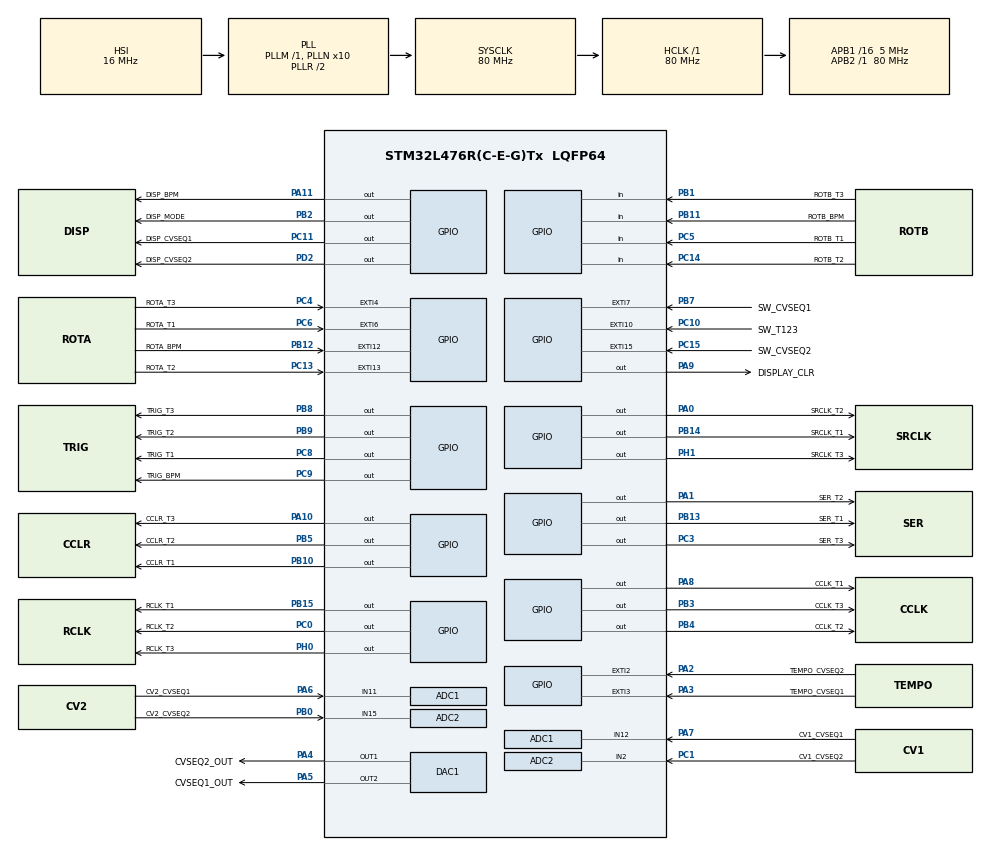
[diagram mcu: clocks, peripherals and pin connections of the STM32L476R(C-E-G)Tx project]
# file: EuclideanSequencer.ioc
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ADC1.Channel-3\#ChannelRegularConversion=ADC_CHANNEL_11
ADC1.NbrOfConversionFlag=1
ADC1.OffsetNumber-3\#ChannelRegularConversion=ADC_OFFSET_NONE
ADC1.Rank-3\#ChannelRegularConversion=1
ADC1.SamplingTime-3\#ChannelRegularConversion=ADC_SAMPLETIME_2CYCLES_5
ADC1.master=1
ADC2.Channel-0\#ChannelRegularConversion=ADC_CHANNEL_2
ADC2.NbrOfConversionFlag=1
ADC2.OffsetNumber-0\#ChannelRegularConversion=ADC_OFFSET_NONE
ADC2.Rank-0\#ChannelRegularConversion=1
ADC2.SamplingTime-0\#ChannelRegularConversion=ADC_SAMPLETIME_2CYCLES_5
DAC1.DAC_Channel-DAC_OUT2=DAC_CHANNEL_2
Dma.ADC1.0.Direction=DMA_PERIPH_TO_MEMORY
Dma.ADC1.0.Instance=DMA1_Channel1
Dma.ADC1.0.MemDataAlignment=DMA_MDATAALIGN_HALFWORD
Dma.ADC1.0.MemInc=DMA_MINC_ENABLE
Dma.ADC1.0.Mode=DMA_CIRCULAR
Dma.ADC1.0.PeriphDataAlignment=DMA_PDATAALIGN_HALFWORD
Dma.ADC1.0.PeriphInc=DMA_PINC_DISABLE
Dma.ADC1.0.Priority=DMA_PRIORITY_VERY_HIGH
Dma.ADC2.1.Direction=DMA_PERIPH_TO_MEMORY
Dma.ADC2.1.Instance=DMA1_Channel2
Dma.ADC2.1.MemDataAlignment=DMA_MDATAALIGN_HALFWORD
Dma.ADC2.1.MemInc=DMA_MINC_ENABLE
Dma.ADC2.1.Mode=DMA_CIRCULAR
Dma.ADC2.1.PeriphDataAlignment=DMA_PDATAALIGN_HALFWORD
Dma.ADC2.1.PeriphInc=DMA_PINC_DISABLE
Dma.ADC2.1.Priority=DMA_PRIORITY_VERY_HIGH
Dma.DAC_CH1.2.Direction=DMA_MEMORY_TO_PERIPH
Dma.DAC_CH1.2.Instance=DMA1_Channel3
Dma.DAC_CH1.2.MemDataAlignment=DMA_MDATAALIGN_HALFWORD
Dma.DAC_CH1.2.MemInc=DMA_MINC_ENABLE
Dma.DAC_CH1.2.Mode=DMA_NORMAL
Dma.DAC_CH1.2.PeriphDataAlignment=DMA_PDATAALIGN_HALFWORD
Dma.DAC_CH1.2.PeriphInc=DMA_PINC_DISABLE
Dma.DAC_CH1.2.Priority=DMA_PRIORITY_VERY_HIGH
Dma.DAC_CH2.3.Direction=DMA_MEMORY_TO_PERIPH
Dma.DAC_CH2.3.Instance=DMA1_Channel4
Dma.DAC_CH2.3.MemDataAlignment=DMA_MDATAALIGN_HALFWORD
Dma.DAC_CH2.3.MemInc=DMA_MINC_ENABLE
Dma.DAC_CH2.3.Mode=DMA_NORMAL
Dma.DAC_CH2.3.PeriphDataAlignment=DMA_PDATAALIGN_HALFWORD
Dma.DAC_CH2.3.PeriphInc=DMA_PINC_DISABLE
Dma.DAC_CH2.3.Priority=DMA_PRIORITY_VERY_HIGH
Dma.Request0=ADC1
Dma.Request1=ADC2
Dma.Request2=DAC_CH1
Dma.Request3=DAC_CH2
Mcu.Family=STM32L4
Mcu.Name=STM32L476R(C-E-G)Tx
Mcu.Package=LQFP64
NVIC.DMA1_Channel1_IRQn=true\:0\:0\:false\:false\:true\:false\:true\:true
NVIC.DMA1_Channel2_IRQn=true\:0\:0\:false\:false\:true\:false\:true\:true
NVIC.DMA1_Channel3_IRQn=true\:0\:0\:false\:false\:true\:false\:true\:true
NVIC.DMA1_Channel4_IRQn=true\:0\:0\:false\:false\:true\:false\:true\:true
NVIC.EXTI15_10_IRQn=true\:0\:0\:false\:false\:true\:true\:true\:true
NVIC.EXTI2_IRQn=true\:0\:0\:false\:false\:true\:true\:true\:true
NVIC.EXTI3_IRQn=true\:0\:0\:false\:false\:true\:true\:true\:true
NVIC.EXTI4_IRQn=true\:0\:0\:false\:false\:true\:true\:true\:true
NVIC.EXTI9_5_IRQn=true\:0\:0\:false\:false\:true\:true\:true\:true
NVIC.PriorityGroup=NVIC_PRIORITYGROUP_4
NVIC.TIM6_DAC_IRQn=true\:0\:0\:false\:false\:true\:true\:true\:true
PA0.GPIO_Label=SRCLK_T2
PA0.GPIO_Speed=GPIO_SPEED_FREQ_VERY_HIGH
PA0.Signal=GPIO_Output
PA1.GPIO_Label=SER_T2
PA1.GPIO_Speed=GPIO_SPEED_FREQ_VERY_HIGH
PA1.Signal=GPIO_Output
PA10.GPIO_Label=CCLR_T3
PA10.GPIO_Speed=GPIO_SPEED_FREQ_VERY_HIGH
PA10.Signal=GPIO_Output
PA11.GPIO_Label=DISP_BPM
PA11.Signal=GPIO_Output
PA2.GPIO_Label=TEMPO_CVSEQ2
PA2.Signal=GPXTI2
PA3.GPIO_Label=TEMPO_CVSEQ1
PA3.Signal=GPXTI3
PA4.GPIO_Label=CVSEQ2_OUT
PA4.Signal=COMP_DAC11_group
PA5.GPIO_Label=CVSEQ1_OUT
PA5.Signal=COMP_DAC12_group
PA6.GPIO_Label=CV2_CVSEQ1
PA6.Signal=ADCx_IN11
PA7.GPIO_Label=CV1_CVSEQ1
PA7.Signal=ADCx_IN12
PA8.GPIO_Label=CCLK_T1
PA8.GPIO_Speed=GPIO_SPEED_FREQ_VERY_HIGH
PA8.Signal=GPIO_Output
PA9.GPIO_Label=DISPLAY_CLR
PA9.GPIO_Speed=GPIO_SPEED_FREQ_VERY_HIGH
PA9.PinState=GPIO_PIN_RESET
PA9.Signal=GPIO_Output
PB0.GPIO_Label=CV2_CVSEQ2
PB0.Signal=ADCx_IN15
PB1.GPIO_Label=ROTB_T3
PB1.Signal=GPIO_Input
PB10.GPIO_Label=CCLR_T1
PB10.GPIO_Speed=GPIO_SPEED_FREQ_VERY_HIGH
PB10.Signal=GPIO_Output
PB11.GPIO_Label=ROTB_BPM
PB11.Signal=GPIO_Input
PB12.GPIO_Label=ROTA_BPM
PB12.Signal=GPXTI12
PB13.GPIO_Label=SER_T1
PB13.GPIO_Speed=GPIO_SPEED_FREQ_VERY_HIGH
PB13.Signal=GPIO_Output
PB14.GPIO_Label=SRCLK_T1
PB14.Signal=GPIO_Output
PB15.GPIO_Label=RCLK_T1
PB15.GPIO_Speed=GPIO_SPEED_FREQ_VERY_HIGH
PB15.Signal=GPIO_Output
PB2.GPIO_Label=DISP_MODE
PB2.Signal=GPIO_Output
PB3\ (JTDO-TRACESWO).GPIO_Label=CCLK_T3
PB3\ (JTDO-TRACESWO).GPIO_Speed=GPIO_SPEED_FREQ_VERY_HIGH
PB3\ (JTDO-TRACESWO).Signal=GPIO_Output
PB4\ (NJTRST).GPIO_Label=CCLK_T2
PB4\ (NJTRST).GPIO_Speed=GPIO_SPEED_FREQ_VERY_HIGH
PB4\ (NJTRST).PinState=GPIO_PIN_RESET
PB4\ (NJTRST).Signal=GPIO_Output
PB5.GPIO_Label=CCLR_T2
PB5.GPIO_Speed=GPIO_SPEED_FREQ_VERY_HIGH
PB5.Signal=GPIO_Output
PB7.GPIO_Label=SW_CVSEQ1
PB7.Signal=GPXTI7
PB8.GPIO_Label=TRIG_T3
PB8.GPIO_Speed=GPIO_SPEED_FREQ_VERY_HIGH
PB8.Signal=GPIO_Output
PB9.GPIO_Label=TRIG_T2
PB9.GPIO_Speed=GPIO_SPEED_FREQ_VERY_HIGH
PB9.Signal=GPIO_Output
PC0.GPIO_Label=RCLK_T2
PC0.GPIO_Speed=GPIO_SPEED_FREQ_VERY_HIGH
PC0.Signal=GPIO_Output
PC1.GPIO_Label=CV1_CVSEQ2
PC1.Signal=ADCx_IN2
PC10.GPIO_Label=SW_T123
PC10.Signal=GPXTI10
PC11.GPIO_Label=DISP_CVSEQ1
PC11.GPIO_Speed=GPIO_SPEED_FREQ_VERY_HIGH
PC11.Signal=GPIO_Output
PC13.GPIO_Label=ROTA_T2
PC13.Signal=GPXTI13
PC14-OSC32_IN\ (PC14).GPIO_Label=ROTB_T2
PC14-OSC32_IN\ (PC14).Signal=GPIO_Input
PC15-OSC32_OUT\ (PC15).GPIO_Label=SW_CVSEQ2
PC15-OSC32_OUT\ (PC15).Signal=GPXTI15
PC3.GPIO_Label=SER_T3
PC3.Signal=GPIO_Output
PC4.GPIO_Label=ROTA_T3
PC4.Signal=GPXTI4
PC5.GPIO_Label=ROTB_T1
PC5.Signal=GPIO_Input
PC6.GPIO_Label=ROTA_T1
PC6.Signal=GPXTI6
PC8.GPIO_Label=TRIG_T1
PC8.PinState=GPIO_PIN_SET
PC8.Signal=GPIO_Output
PC9.GPIO_Label=TRIG_BPM
PC9.Signal=GPIO_Output
PD2.GPIO_Label=DISP_CVSEQ2
PD2.GPIO_Speed=GPIO_SPEED_FREQ_VERY_HIGH
PD2.Signal=GPIO_Output
PH0-OSC_IN\ (PH0).GPIO_Label=RCLK_T3
PH0-OSC_IN\ (PH0).Signal=GPIO_Output
PH1-OSC_OUT\ (PH1).GPIO_Label=SRCLK_T3
PH1-OSC_OUT\ (PH1).Signal=GPIO_Output
ProjectManager.HeapSize=0x200
ProjectManager.StackSize=0x400
ProjectManager.TargetToolchain=STM32CubeIDE
RCC.ADCFreq_Value=64000000
RCC.AHBFreq_Value=80000000
RCC.APB1CLKDivider=RCC_HCLK_DIV16
RCC.APB1Freq_Value=5000000
RCC.APB1TimFreq_Value=10000000
RCC.APB2Freq_Value=80000000
RCC.APB2TimFreq_Value=80000000
RCC.CortexFreq_Value=80000000
RCC.HCLKFreq_Value=80000000
RCC.HSE_VALUE=8000000
RCC.HSI_VALUE=16000000
RCC.LSE_VALUE=32768
RCC.MSI_VALUE=4000000
RCC.PLLN=10
RCC.PLLSourceVirtual=RCC_PLLSOURCE_HSI
RCC.PREFETCH_ENABLE=1
RCC.SYSCLKFreq_VALUE=80000000
RCC.SYSCLKSource=RCC_SYSCLKSOURCE_PLLCLK
RCC.USBFreq_Value=64000000
RCC.VCOOutputFreq_Value=160000000
SH.ADCx_IN11.0=ADC1_IN11,IN11-Single-Ended
SH.ADCx_IN12.0=ADC1_IN12,IN12-Single-Ended
SH.ADCx_IN15.0=ADC2_IN15,IN15-Single-Ended
SH.ADCx_IN2.0=ADC2_IN2,IN2-Single-Ended
SH.COMP_DAC11_group.0=DAC1_OUT1,DAC_OUT1
SH.COMP_DAC12_group.0=DAC1_OUT2,DAC_OUT2
TIM6.AutoReloadPreload=TIM_AUTORELOAD_PRELOAD_ENABLE
TIM6.Prescaler=114
TIM6.TIM_MasterOutputTrigger=TIM_TRGO_UPDATE
VP_TIM6_VS_ClockSourceINT.Mode=Enable_Timer
board=NUCLEO-L476RG

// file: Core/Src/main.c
/* USER CODE BEGIN Header */
/**
  ******************************************************************************
  * @file           : main.c
  * @brief          : Main program body
  ******************************************************************************
  * @attention
  *
  * Copyright (c) 2024 STMicroelectronics.
  * All rights reserved.
  *
  * This software is licensed under terms that can be found in the LICENSE file
  * in the root directory of this software component.
  * If no LICENSE file comes with this software, it is provided AS-IS.
  *
  ******************************************************************************
  */
/* USER CODE END Header */
#include "main.h"

/* USER CODE BEGIN Includes */
#include "Sequencer.h"
#include "CVSequencer.h"
/* USER CODE END Includes */

ADC_HandleTypeDef hadc1;
ADC_HandleTypeDef hadc2;
DMA_HandleTypeDef hdma_adc1;
DMA_HandleTypeDef hdma_adc2;

DAC_HandleTypeDef hdac1;
DMA_HandleTypeDef hdma_dac_ch1;
DMA_HandleTypeDef hdma_dac_ch2;

TIM_HandleTypeDef htim6;

/* USER CODE BEGIN PV */
Sequencer seq;
Track_GPIOs GPIOs[NBTRACKS];
CVSequencer CVSeq1;
CVSequencer CVSeq2;
/* USER CODE END PV */

void SystemClock_Config(void);
void PeriphCommonClock_Config(void);
static void MX_GPIO_Init(void);
static void MX_DMA_Init(void);
static void MX_TIM6_Init(void);
static void MX_ADC1_Init(void);
static void MX_DAC1_Init(void);
static void MX_ADC2_Init(void);

int main(void)
{

  /* MCU Configuration--------------------------------------------------------*/

  /* Reset of all peripherals, Initializes the Flash interface and the Systick. */
  HAL_Init();

  /* Configure the system clock */
  SystemClock_Config();

/* Configure the peripherals common clocks */
  PeriphCommonClock_Config();

  /* Initialize all configured peripherals */
  MX_GPIO_Init();
  MX_DMA_Init();
  MX_TIM6_Init();
  MX_ADC1_Init();
  MX_DAC1_Init();
  MX_ADC2_Init();
  /* USER CODE BEGIN 2 */
  GPIOs[0].TRIGOUT = (GPIO_PinPort){TRIG_T1_GPIO_Port, TRIG_T1_Pin};
  GPIOs[0].ROTA = (GPIO_PinPort){ROTA_T1_GPIO_Port, ROTA_T1_Pin};
  GPIOs[0].ROTB = (GPIO_PinPort){ROTB_T1_GPIO_Port, ROTB_T1_Pin};
  GPIOs[0].CHASER = (GPIO_PinPort){CCLR_T1_GPIO_Port, CCLR_T1_Pin};
  GPIOs[0].BPMOUT = (GPIO_PinPort){CCLK_T1_GPIO_Port, CCLK_T1_Pin};
  GPIOs[0].LATCH = (GPIO_PinPort){RCLK_T1_GPIO_Port, RCLK_T1_Pin};
  GPIOs[0].CLK = (GPIO_PinPort){SRCLK_T1_GPIO_Port, SRCLK_T1_Pin};
  GPIOs[0].PATTERN = (GPIO_PinPort){SER_T1_GPIO_Port, SER_T1_Pin};

  GPIOs[1].TRIGOUT = (GPIO_PinPort){TRIG_T2_GPIO_Port, TRIG_T2_Pin};
  GPIOs[1].ROTA = (GPIO_PinPort){ROTA_T2_GPIO_Port, ROTA_T2_Pin};
  GPIOs[1].ROTB = (GPIO_PinPort){ROTB_T2_GPIO_Port, ROTB_T2_Pin};
  GPIOs[1].CHASER = (GPIO_PinPort){CCLR_T2_GPIO_Port, CCLR_T2_Pin};
  GPIOs[1].BPMOUT = (GPIO_PinPort){CCLK_T2_GPIO_Port, CCLK_T2_Pin};
  GPIOs[1].LATCH = (GPIO_PinPort){RCLK_T2_GPIO_Port, RCLK_T2_Pin};
  GPIOs[1].CLK = (GPIO_PinPort){SRCLK_T2_GPIO_Port, SRCLK_T2_Pin};
  GPIOs[1].PATTERN = (GPIO_PinPort){SER_T2_GPIO_Port, SER_T2_Pin};

  GPIOs[2].TRIGOUT = (GPIO_PinPort){TRIG_T3_GPIO_Port, TRIG_T3_Pin};
  GPIOs[2].ROTA = (GPIO_PinPort){ROTA_T3_GPIO_Port, ROTA_T3_Pin};
  GPIOs[2].ROTB = (GPIO_PinPort){ROTB_T3_GPIO_Port, ROTB_T3_Pin};
  GPIOs[2].CHASER = (GPIO_PinPort){CCLR_T3_GPIO_Port, CCLR_T3_Pin};
  GPIOs[2].BPMOUT = (GPIO_PinPort){CCLK_T3_GPIO_Port, CCLK_T3_Pin};
  GPIOs[2].LATCH = (GPIO_PinPort){RCLK_T3_GPIO_Port, RCLK_T3_Pin};
  GPIOs[2].CLK = (GPIO_PinPort){SRCLK_T3_GPIO_Port, SRCLK_T3_Pin};
  GPIOs[2].PATTERN = (GPIO_PinPort){SER_T2_GPIO_Port, SER_T2_Pin};

  //Seq_computeTriggers(&seq);
  /* USER CODE END 2 */

  /* Infinite loop */
  /* USER CODE BEGIN WHILE */
  Seq_initSequencer(&seq, (GPIO_PinPort){SW_T123_GPIO_Port, SW_T123_Pin}, (GPIO_PinPort){ROTA_BPM_GPIO_Port, ROTA_BPM_Pin},
		  (GPIO_PinPort){ROTB_BPM_GPIO_Port, ROTB_BPM_Pin}, (GPIO_PinPort){TRIG_BPM_GPIO_Port, TRIG_BPM_Pin},
		  (GPIO_PinPort){DISP_BPM_GPIO_Port, DISP_BPM_Pin}, (GPIO_PinPort){DISP_MODE_GPIO_Port, DISP_MODE_Pin},
		  &htim6, GPIOs);
  CVSeq_initCVSequencer(&CVSeq1, (GPIO_PinPort){TEMPO_CVSEQ1_GPIO_Port, TEMPO_CVSEQ1_Pin}, &hadc1, &hdac1, DAC_CHANNEL_2,
		  (GPIO_PinPort){SW_CVSEQ1_GPIO_Port, SW_CVSEQ1_Pin}, (GPIO_PinPort){DISP_CVSEQ1_GPIO_Port, DISP_CVSEQ1_Pin});
  CVSeq_initCVSequencer(&CVSeq2, (GPIO_PinPort){TEMPO_CVSEQ2_GPIO_Port, TEMPO_CVSEQ2_Pin}, &hadc2, &hdac1, DAC_CHANNEL_1,
		  (GPIO_PinPort){SW_CVSEQ2_GPIO_Port, SW_CVSEQ2_Pin}, (GPIO_PinPort){DISP_CVSEQ2_GPIO_Port, DISP_CVSEQ2_Pin});
  while (1)
  {
	  Seq_computeTriggers(&seq);
	  Seq_resetTriggers(seq);
    /* USER CODE END WHILE */

  }
}

void SystemClock_Config(void)
{
  RCC_OscInitTypeDef RCC_OscInitStruct = {0};
  RCC_ClkInitTypeDef RCC_ClkInitStruct = {0};

  /** Configure the main internal regulator output voltage
  */
  if (HAL_PWREx_ControlVoltageScaling(PWR_REGULATOR_VOLTAGE_SCALE1) != HAL_OK)
  {
    Error_Handler();
  }

  /** Initializes the RCC Oscillators according to the specified parameters
  * in the RCC_OscInitTypeDef structure.
  */
  RCC_OscInitStruct.OscillatorType = RCC_OSCILLATORTYPE_HSI;
  RCC_OscInitStruct.HSIState = RCC_HSI_ON;
  RCC_OscInitStruct.HSICalibrationValue = RCC_HSICALIBRATION_DEFAULT;
  RCC_OscInitStruct.PLL.PLLState = RCC_PLL_ON;
  RCC_OscInitStruct.PLL.PLLSource = RCC_PLLSOURCE_HSI;
  RCC_OscInitStruct.PLL.PLLM = 1;
  RCC_OscInitStruct.PLL.PLLN = 10;
  RCC_OscInitStruct.PLL.PLLP = RCC_PLLP_DIV7;
  RCC_OscInitStruct.PLL.PLLQ = RCC_PLLQ_DIV2;
  RCC_OscInitStruct.PLL.PLLR = RCC_PLLR_DIV2;
  if (HAL_RCC_OscConfig(&RCC_OscInitStruct) != HAL_OK)
  {
    Error_Handler();
  }

  /** Initializes the CPU, AHB and APB buses clocks
  */
  RCC_ClkInitStruct.ClockType = RCC_CLOCKTYPE_HCLK|RCC_CLOCKTYPE_SYSCLK
                              |RCC_CLOCKTYPE_PCLK1|RCC_CLOCKTYPE_PCLK2;
  RCC_ClkInitStruct.SYSCLKSource = RCC_SYSCLKSOURCE_PLLCLK;
  RCC_ClkInitStruct.AHBCLKDivider = RCC_SYSCLK_DIV1;
  RCC_ClkInitStruct.APB1CLKDivider = RCC_HCLK_DIV16;
  RCC_ClkInitStruct.APB2CLKDivider = RCC_HCLK_DIV1;

  if (HAL_RCC_ClockConfig(&RCC_ClkInitStruct, FLASH_LATENCY_4) != HAL_OK)
  {
    Error_Handler();
  }
}

void PeriphCommonClock_Config(void)
{
  RCC_PeriphCLKInitTypeDef PeriphClkInit = {0};

  /** Initializes the peripherals clock
  */
  PeriphClkInit.PeriphClockSelection = RCC_PERIPHCLK_ADC;
  PeriphClkInit.AdcClockSelection = RCC_ADCCLKSOURCE_PLLSAI1;
  PeriphClkInit.PLLSAI1.PLLSAI1Source = RCC_PLLSOURCE_HSI;
  PeriphClkInit.PLLSAI1.PLLSAI1M = 1;
  PeriphClkInit.PLLSAI1.PLLSAI1N = 8;
  PeriphClkInit.PLLSAI1.PLLSAI1P = RCC_PLLP_DIV7;
  PeriphClkInit.PLLSAI1.PLLSAI1Q = RCC_PLLQ_DIV2;
  PeriphClkInit.PLLSAI1.PLLSAI1R = RCC_PLLR_DIV2;
  PeriphClkInit.PLLSAI1.PLLSAI1ClockOut = RCC_PLLSAI1_ADC1CLK;
  if (HAL_RCCEx_PeriphCLKConfig(&PeriphClkInit) != HAL_OK)
  {
    Error_Handler();
  }
}

static void MX_ADC1_Init(void)
{

  ADC_MultiModeTypeDef multimode = {0};
  ADC_ChannelConfTypeDef sConfig = {0};

  /** Common config
  */
  hadc1.Instance = ADC1;
  hadc1.Init.ClockPrescaler = ADC_CLOCK_ASYNC_DIV1;
  hadc1.Init.Resolution = ADC_RESOLUTION_12B;
  hadc1.Init.DataAlign = ADC_DATAALIGN_RIGHT;
  hadc1.Init.ScanConvMode = ADC_SCAN_DISABLE;
  hadc1.Init.EOCSelection = ADC_EOC_SINGLE_CONV;
  hadc1.Init.LowPowerAutoWait = DISABLE;
  hadc1.Init.ContinuousConvMode = DISABLE;
  hadc1.Init.NbrOfConversion = 1;
  hadc1.Init.DiscontinuousConvMode = DISABLE;
  hadc1.Init.ExternalTrigConv = ADC_SOFTWARE_START;
  hadc1.Init.ExternalTrigConvEdge = ADC_EXTERNALTRIGCONVEDGE_NONE;
  hadc1.Init.DMAContinuousRequests = DISABLE;
  hadc1.Init.Overrun = ADC_OVR_DATA_PRESERVED;
  hadc1.Init.OversamplingMode = DISABLE;
  if (HAL_ADC_Init(&hadc1) != HAL_OK)
  {
    Error_Handler();
  }

  /** Configure the ADC multi-mode
  */
  multimode.Mode = ADC_MODE_INDEPENDENT;
  if (HAL_ADCEx_MultiModeConfigChannel(&hadc1, &multimode) != HAL_OK)
  {
    Error_Handler();
  }

  /** Configure Regular Channel
  */
  sConfig.Channel = ADC_CHANNEL_11;
  sConfig.Rank = ADC_REGULAR_RANK_1;
  sConfig.SamplingTime = ADC_SAMPLETIME_2CYCLES_5;
  sConfig.SingleDiff = ADC_SINGLE_ENDED;
  sConfig.OffsetNumber = ADC_OFFSET_NONE;
  sConfig.Offset = 0;
  if (HAL_ADC_ConfigChannel(&hadc1, &sConfig) != HAL_OK)
  {
    Error_Handler();
  }

}

static void MX_ADC2_Init(void)
{

  ADC_ChannelConfTypeDef sConfig = {0};

  /** Common config
  */
  hadc2.Instance = ADC2;
  hadc2.Init.ClockPrescaler = ADC_CLOCK_ASYNC_DIV1;
  hadc2.Init.Resolution = ADC_RESOLUTION_12B;
  hadc2.Init.DataAlign = ADC_DATAALIGN_RIGHT;
  hadc2.Init.ScanConvMode = ADC_SCAN_DISABLE;
  hadc2.Init.EOCSelection = ADC_EOC_SINGLE_CONV;
  hadc2.Init.LowPowerAutoWait = DISABLE;
  hadc2.Init.ContinuousConvMode = DISABLE;
  hadc2.Init.NbrOfConversion = 1;
  hadc2.Init.DiscontinuousConvMode = DISABLE;
  hadc2.Init.ExternalTrigConv = ADC_SOFTWARE_START;
  hadc2.Init.ExternalTrigConvEdge = ADC_EXTERNALTRIGCONVEDGE_NONE;
  hadc2.Init.DMAContinuousRequests = DISABLE;
  hadc2.Init.Overrun = ADC_OVR_DATA_PRESERVED;
  hadc2.Init.OversamplingMode = DISABLE;
  if (HAL_ADC_Init(&hadc2) != HAL_OK)
  {
    Error_Handler();
  }

  /** Configure Regular Channel
  */
  sConfig.Channel = ADC_CHANNEL_2;
  sConfig.Rank = ADC_REGULAR_RANK_1;
  sConfig.SamplingTime = ADC_SAMPLETIME_2CYCLES_5;
  sConfig.SingleDiff = ADC_SINGLE_ENDED;
  sConfig.OffsetNumber = ADC_OFFSET_NONE;
  sConfig.Offset = 0;
  if (HAL_ADC_ConfigChannel(&hadc2, &sConfig) != HAL_OK)
  {
    Error_Handler();
  }

}

static void MX_DAC1_Init(void)
{

  DAC_ChannelConfTypeDef sConfig = {0};

  /** DAC Initialization
  */
  hdac1.Instance = DAC1;
  if (HAL_DAC_Init(&hdac1) != HAL_OK)
  {
    Error_Handler();
  }

  /** DAC channel OUT1 config
  */
  sConfig.DAC_SampleAndHold = DAC_SAMPLEANDHOLD_DISABLE;
  sConfig.DAC_Trigger = DAC_TRIGGER_NONE;
  sConfig.DAC_OutputBuffer = DAC_OUTPUTBUFFER_ENABLE;
  sConfig.DAC_ConnectOnChipPeripheral = DAC_CHIPCONNECT_DISABLE;
  sConfig.DAC_UserTrimming = DAC_TRIMMING_FACTORY;
  if (HAL_DAC_ConfigChannel(&hdac1, &sConfig, DAC_CHANNEL_1) != HAL_OK)
  {
    Error_Handler();
  }

  /** DAC channel OUT2 config
  */
  if (HAL_DAC_ConfigChannel(&hdac1, &sConfig, DAC_CHANNEL_2) != HAL_OK)
  {
    Error_Handler();
  }

}

static void MX_TIM6_Init(void)
{

  TIM_MasterConfigTypeDef sMasterConfig = {0};

  htim6.Instance = TIM6;
  htim6.Init.Prescaler = 114;
  htim6.Init.CounterMode = TIM_COUNTERMODE_UP;
  htim6.Init.Period = 65535;
  htim6.Init.AutoReloadPreload = TIM_AUTORELOAD_PRELOAD_ENABLE;
  if (HAL_TIM_Base_Init(&htim6) != HAL_OK)
  {
    Error_Handler();
  }
  sMasterConfig.MasterOutputTrigger = TIM_TRGO_UPDATE;
  sMasterConfig.MasterSlaveMode = TIM_MASTERSLAVEMODE_DISABLE;
  if (HAL_TIMEx_MasterConfigSynchronization(&htim6, &sMasterConfig) != HAL_OK)
  {
    Error_Handler();
  }

}

static void MX_DMA_Init(void)
{

  /* DMA controller clock enable */
  __HAL_RCC_DMA1_CLK_ENABLE();

  /* DMA interrupt init */
  /* DMA1_Channel1_IRQn interrupt configuration */
  HAL_NVIC_SetPriority(DMA1_Channel1_IRQn, 0, 0);
  HAL_NVIC_EnableIRQ(DMA1_Channel1_IRQn);
  /* DMA1_Channel2_IRQn interrupt configuration */
  HAL_NVIC_SetPriority(DMA1_Channel2_IRQn, 0, 0);
  HAL_NVIC_EnableIRQ(DMA1_Channel2_IRQn);
  /* DMA1_Channel3_IRQn interrupt configuration */
  HAL_NVIC_SetPriority(DMA1_Channel3_IRQn, 0, 0);
  HAL_NVIC_EnableIRQ(DMA1_Channel3_IRQn);
  /* DMA1_Channel4_IRQn interrupt configuration */
  HAL_NVIC_SetPriority(DMA1_Channel4_IRQn, 0, 0);
  HAL_NVIC_EnableIRQ(DMA1_Channel4_IRQn);

}

static void MX_GPIO_Init(void)
{
  GPIO_InitTypeDef GPIO_InitStruct = {0};

  /* GPIO Ports Clock Enable */
  __HAL_RCC_GPIOC_CLK_ENABLE();
  __HAL_RCC_GPIOH_CLK_ENABLE();
  __HAL_RCC_GPIOA_CLK_ENABLE();
  __HAL_RCC_GPIOB_CLK_ENABLE();
  __HAL_RCC_GPIOD_CLK_ENABLE();

  /*Configure GPIO pin Output Level */
  HAL_GPIO_WritePin(GPIOH, RCLK_T3_Pin|SRCLK_T3_Pin, GPIO_PIN_RESET);

  /*Configure GPIO pin Output Level */
  HAL_GPIO_WritePin(GPIOC, RCLK_T2_Pin|SER_T3_Pin|TRIG_BPM_Pin|DISP_CVSEQ1_Pin, GPIO_PIN_RESET);

  /*Configure GPIO pin Output Level */
  HAL_GPIO_WritePin(GPIOA, SRCLK_T2_Pin|SER_T2_Pin|CCLK_T1_Pin|DISPLAY_CLR_Pin
                          |CCLR_T3_Pin|DISP_BPM_Pin, GPIO_PIN_RESET);

  /*Configure GPIO pin Output Level */
  HAL_GPIO_WritePin(GPIOB, DISP_MODE_Pin|CCLR_T1_Pin|SER_T1_Pin|SRCLK_T1_Pin
                          |RCLK_T1_Pin|CCLK_T3_Pin|CCLK_T2_Pin|CCLR_T2_Pin
                          |TRIG_T3_Pin|TRIG_T2_Pin, GPIO_PIN_RESET);

  /*Configure GPIO pin Output Level */
  HAL_GPIO_WritePin(TRIG_T1_GPIO_Port, TRIG_T1_Pin, GPIO_PIN_SET);

  /*Configure GPIO pin Output Level */
  HAL_GPIO_WritePin(DISP_CVSEQ2_GPIO_Port, DISP_CVSEQ2_Pin, GPIO_PIN_RESET);

  /*Configure GPIO pins : ROTA_T2_Pin SW_CVSEQ2_Pin ROTA_T3_Pin ROTA_T1_Pin
                           SW_T123_Pin */
  GPIO_InitStruct.Pin = ROTA_T2_Pin|SW_CVSEQ2_Pin|ROTA_T3_Pin|ROTA_T1_Pin
                          |SW_T123_Pin;
  GPIO_InitStruct.Mode = GPIO_MODE_IT_RISING;
  GPIO_InitStruct.Pull = GPIO_NOPULL;
  HAL_GPIO_Init(GPIOC, &GPIO_InitStruct);

  /*Configure GPIO pins : ROTB_T2_Pin ROTB_T1_Pin */
  GPIO_InitStruct.Pin = ROTB_T2_Pin|ROTB_T1_Pin;
  GPIO_InitStruct.Mode = GPIO_MODE_INPUT;
  GPIO_InitStruct.Pull = GPIO_NOPULL;
  HAL_GPIO_Init(GPIOC, &GPIO_InitStruct);

  /*Configure GPIO pins : RCLK_T3_Pin SRCLK_T3_Pin */
  GPIO_InitStruct.Pin = RCLK_T3_Pin|SRCLK_T3_Pin;
  GPIO_InitStruct.Mode = GPIO_MODE_OUTPUT_PP;
  GPIO_InitStruct.Pull = GPIO_NOPULL;
  GPIO_InitStruct.Speed = GPIO_SPEED_FREQ_LOW;
  HAL_GPIO_Init(GPIOH, &GPIO_InitStruct);

  /*Configure GPIO pins : RCLK_T2_Pin DISP_CVSEQ1_Pin */
  GPIO_InitStruct.Pin = RCLK_T2_Pin|DISP_CVSEQ1_Pin;
  GPIO_InitStruct.Mode = GPIO_MODE_OUTPUT_PP;
  GPIO_InitStruct.Pull = GPIO_NOPULL;
  GPIO_InitStruct.Speed = GPIO_SPEED_FREQ_VERY_HIGH;
  HAL_GPIO_Init(GPIOC, &GPIO_InitStruct);

  /*Configure GPIO pins : SER_T3_Pin TRIG_T1_Pin TRIG_BPM_Pin */
  GPIO_InitStruct.Pin = SER_T3_Pin|TRIG_T1_Pin|TRIG_BPM_Pin;
  GPIO_InitStruct.Mode = GPIO_MODE_OUTPUT_PP;
  GPIO_InitStruct.Pull = GPIO_NOPULL;
  GPIO_InitStruct.Speed = GPIO_SPEED_FREQ_LOW;
  HAL_GPIO_Init(GPIOC, &GPIO_InitStruct);

  /*Configure GPIO pins : SRCLK_T2_Pin SER_T2_Pin CCLK_T1_Pin DISPLAY_CLR_Pin
                           CCLR_T3_Pin */
  GPIO_InitStruct.Pin = SRCLK_T2_Pin|SER_T2_Pin|CCLK_T1_Pin|DISPLAY_CLR_Pin
                          |CCLR_T3_Pin;
  GPIO_InitStruct.Mode = GPIO_MODE_OUTPUT_PP;
  GPIO_InitStruct.Pull = GPIO_NOPULL;
  GPIO_InitStruct.Speed = GPIO_SPEED_FREQ_VERY_HIGH;
  HAL_GPIO_Init(GPIOA, &GPIO_InitStruct);

  /*Configure GPIO pins : TEMPO_CVSEQ2_Pin TEMPO_CVSEQ1_Pin */
  GPIO_InitStruct.Pin = TEMPO_CVSEQ2_Pin|TEMPO_CVSEQ1_Pin;
  GPIO_InitStruct.Mode = GPIO_MODE_IT_RISING;
  GPIO_InitStruct.Pull = GPIO_NOPULL;
  HAL_GPIO_Init(GPIOA, &GPIO_InitStruct);

  /*Configure GPIO pins : ROTB_T3_Pin ROTB_BPM_Pin */
  GPIO_InitStruct.Pin = ROTB_T3_Pin|ROTB_BPM_Pin;
  GPIO_InitStruct.Mode = GPIO_MODE_INPUT;
  GPIO_InitStruct.Pull = GPIO_NOPULL;
  HAL_GPIO_Init(GPIOB, &GPIO_InitStruct);

  /*Configure GPIO pins : DISP_MODE_Pin SRCLK_T1_Pin */
  GPIO_InitStruct.Pin = DISP_MODE_Pin|SRCLK_T1_Pin;
  GPIO_InitStruct.Mode = GPIO_MODE_OUTPUT_PP;
  GPIO_InitStruct.Pull = GPIO_NOPULL;
  GPIO_InitStruct.Speed = GPIO_SPEED_FREQ_LOW;
  HAL_GPIO_Init(GPIOB, &GPIO_InitStruct);

  /*Configure GPIO pins : CCLR_T1_Pin SER_T1_Pin RCLK_T1_Pin CCLK_T3_Pin
                           CCLK_T2_Pin CCLR_T2_Pin TRIG_T3_Pin TRIG_T2_Pin */
  GPIO_InitStruct.Pin = CCLR_T1_Pin|SER_T1_Pin|RCLK_T1_Pin|CCLK_T3_Pin
                          |CCLK_T2_Pin|CCLR_T2_Pin|TRIG_T3_Pin|TRIG_T2_Pin;
  GPIO_InitStruct.Mode = GPIO_MODE_OUTPUT_PP;
  GPIO_InitStruct.Pull = GPIO_NOPULL;
  GPIO_InitStruct.Speed = GPIO_SPEED_FREQ_VERY_HIGH;
  HAL_GPIO_Init(GPIOB, &GPIO_InitStruct);

  /*Configure GPIO pins : ROTA_BPM_Pin SW_CVSEQ1_Pin */
  GPIO_InitStruct.Pin = ROTA_BPM_Pin|SW_CVSEQ1_Pin;
  GPIO_InitStruct.Mode = GPIO_MODE_IT_RISING;
  GPIO_InitStruct.Pull = GPIO_NOPULL;
  HAL_GPIO_Init(GPIOB, &GPIO_InitStruct);

  /*Configure GPIO pin : DISP_BPM_Pin */
  GPIO_InitStruct.Pin = DISP_BPM_Pin;
  GPIO_InitStruct.Mode = GPIO_MODE_OUTPUT_PP;
  GPIO_InitStruct.Pull = GPIO_NOPULL;
  GPIO_InitStruct.Speed = GPIO_SPEED_FREQ_LOW;
  HAL_GPIO_Init(DISP_BPM_GPIO_Port, &GPIO_InitStruct);

  /*Configure GPIO pin : DISP_CVSEQ2_Pin */
  GPIO_InitStruct.Pin = DISP_CVSEQ2_Pin;
  GPIO_InitStruct.Mode = GPIO_MODE_OUTPUT_PP;
  GPIO_InitStruct.Pull = GPIO_NOPULL;
  GPIO_InitStruct.Speed = GPIO_SPEED_FREQ_VERY_HIGH;
  HAL_GPIO_Init(DISP_CVSEQ2_GPIO_Port, &GPIO_InitStruct);

  /* EXTI interrupt init*/
  HAL_NVIC_SetPriority(EXTI2_IRQn, 0, 0);
  HAL_NVIC_EnableIRQ(EXTI2_IRQn);

  HAL_NVIC_SetPriority(EXTI3_IRQn, 0, 0);
  HAL_NVIC_EnableIRQ(EXTI3_IRQn);

  HAL_NVIC_SetPriority(EXTI4_IRQn, 0, 0);
  HAL_NVIC_EnableIRQ(EXTI4_IRQn);

  HAL_NVIC_SetPriority(EXTI9_5_IRQn, 0, 0);
  HAL_NVIC_EnableIRQ(EXTI9_5_IRQn);

  HAL_NVIC_SetPriority(EXTI15_10_IRQn, 0, 0);
  HAL_NVIC_EnableIRQ(EXTI15_10_IRQn);

}

/* USER CODE BEGIN 4 */
void HAL_TIM_PeriodElapsedCallback(TIM_HandleTypeDef *htim)
{
	if(htim == seq._htim)
	{
		Seq_Trigger(&seq);
	}
}

void HAL_GPIO_EXTI_Callback(uint16_t GPIO_Pin)
{

	if(GPIO_Pin == seq._SWITCH.Pin) Seq_ChangeMode(&seq);
	else if(GPIO_Pin == seq._BPM_ROTA.Pin) Seq_modifyBPM(&seq);
	else if(GPIO_Pin == CVSeq1._TRIG.Pin) CVSeq_updateCVValue(&CVSeq1);
	else if(GPIO_Pin == CVSeq2._TRIG.Pin) CVSeq_updateCVValue(&CVSeq2);
	else Seq_TracksExternalInterruption(&seq, GPIO_Pin);
}
/* USER CODE END 4 */

void Error_Handler(void)
{
  __disable_irq();
  while (1)
  {
  }
}
